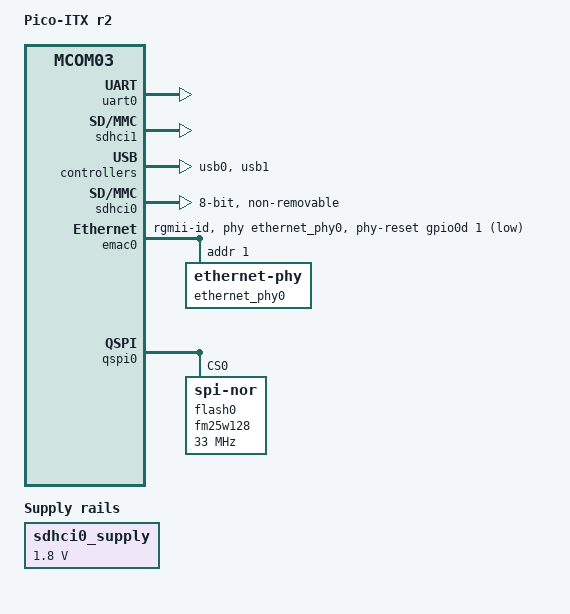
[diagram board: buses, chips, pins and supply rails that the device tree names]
// SPDX-License-Identifier: GPL-2.0+
/*
 * Copyright 2024 RnD Center "ELVEES", JSC
 */

/dts-v1/;

#include <dt-bindings/gpio/gpio.h>

#include "mcom03.dtsi"

/ {
	model = "Pico-ITX r2";
	compatible = "macro-ems,pico-itx-r2",
		     "macro-ems,pico-itx",
		     "elvees,mcom03";

	sdhci0_supply: regulator@0 {
		compatible = "regulator-fixed";
		regulator-name = "sdhci0-supply";
		regulator-min-microvolt = <1800000>;
		regulator-max-microvolt = <1800000>;
		regulator-always-on;
	};

	chosen {
		stdout-path = "serial0:115200n8";
	};
};

&uart0 {
	status = "okay";
	clock-frequency = <27920454>;
};

/* Connected to MicroSD card */
&sdhci1 {
	status = "okay";

	/* Disable High Speed support
	 * Disable 1.8V support
	 * Disable SDR50, SDR104 and DDR50 support
	 */
	sdhci-caps-mask = <0x7 0x4200000>;
	sdhci-caps = <0x0 0x0>;
};

&usb0 {
	status = "okay";
};

&usb1 {
	status = "okay";
};

/* Connected to eMMC */
&sdhci0 {
	status = "okay";

	non-removable;
	bus-width = <8>;

	vqmmc-supply = <&sdhci0_supply>;
};

&emac0 {
	status = "okay";
	phy-mode = "rgmii-id";
	phy-handle = <&ethernet_phy0>;
	phy-reset-gpios = <&gpio0d 1 GPIO_ACTIVE_HIGH>;
	elvees,pads-1v8-en;

	ethernet_phy0: ethernet-phy@1 {
		reg = <0x1>;
	};
};

&qspi0 {
	status = "okay";

	flash0: fm25w128@0 {
		#address-cells = <1>;
		#size-cells = <1>;
		compatible = "jedec,spi-nor", "spi-flash";
		reg = <0x0>;
		/* This is the highest frequency at which all commands are
		 * supported by the flash device.
		 */
		spi-max-frequency = <33000000>;

		spi-tx-bus-width = <4>;
		spi-rx-bus-width = <4>;
	};
};
